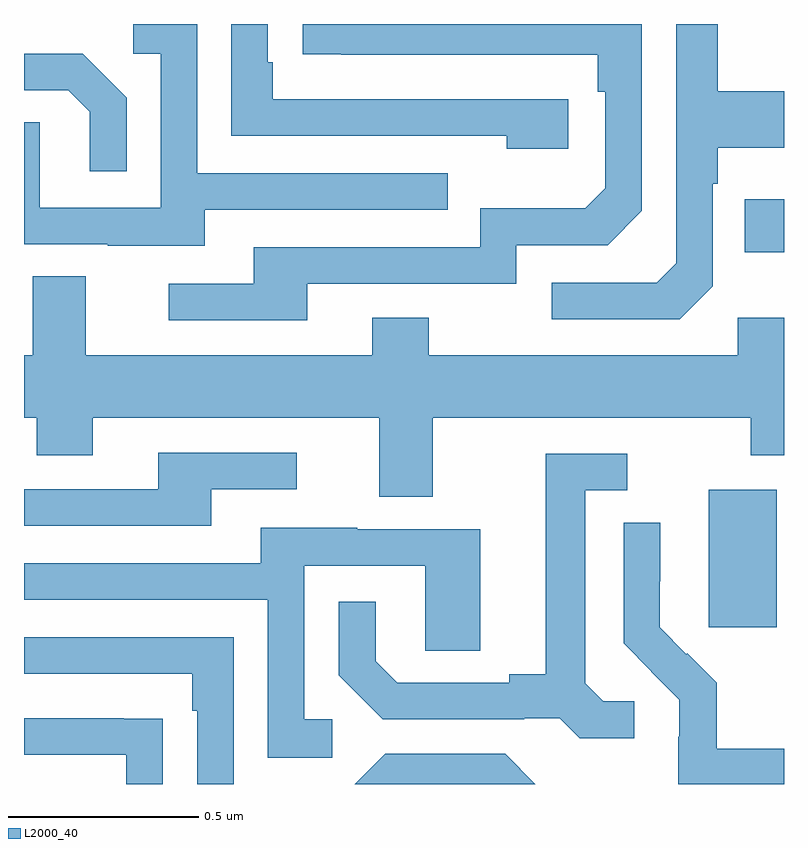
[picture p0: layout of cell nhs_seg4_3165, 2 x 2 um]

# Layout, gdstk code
import gdstk
lib = gdstk.Library(unit=1e-6, precision=1e-09)
def R(c, l, rs):  # rectangles x0, y0, x1, y1
    for r in rs: c.add(gdstk.rectangle(r[:2], r[2:], *l))
def P(c, l, *ps):  # polygons
    for p in ps: c.add(gdstk.Polygon(p, *l))
L2000_40 = (2000, 40)

nhs_seg4_3165 = lib.new_cell('nhs_seg4_3165')
R(nhs_seg4_3165, L2000_40, [(151.802,752.313,151.981,752.674), (151.897,753.299,152,753.439)])
P(nhs_seg4_3165, L2000_40, [(151.812,753.21),(151.812,753.479),(151.825,753.479),(151.825,753.575),(152,753.575),(152,753.723),(151.825,753.723),(151.825,753.9),(151.716,753.9),(151.716,753.27),(151.665,753.219),(151.389,753.219),(151.389,753.123),(151.725,753.123)],
  [(150.745,753.216),(151.296,753.216),(151.296,753.318),(151.536,753.318),(151.626,753.408),(151.626,753.9),(150.733,753.9),(150.733,753.82),(150.835,753.82),(150.835,753.819),(151.51,753.819),(151.51,753.722),(151.53,753.722),(151.53,753.468),(151.477,753.415),(151.2,753.415),(151.2,753.312),(150.605,753.312),(150.605,753.216),(150.381,753.216),(150.381,753.12),(150.745,753.12)],
  [(150.475,753.411),(151.115,753.411),(151.115,753.507),(150.456,753.507),(150.456,753.9),(150.288,753.9),(150.288,753.822),(150.36,753.822),(150.36,753.417),(150.042,753.417),(150.042,753.641),(150,753.641),(150,753.321),(150.221,753.321),(150.221,753.317),(150.475,753.317)],
  [(151.432,753.702),(150.655,753.702),(150.655,753.799),(150.642,753.799),(150.642,753.9),(150.546,753.9),(150.546,753.606),(151.271,753.606),(151.271,753.572),(151.432,753.572)],
  [(150.27,753.706),(150.154,753.822),(150,753.822),(150,753.726),(150.116,753.726),(150.173,753.669),(150.173,753.513),(150.27,753.513)],
  [(151.075,752.864),(151.912,752.864),(151.912,752.765),(152,752.765),(152,753.127),(151.878,753.127),(151.878,753.028),(151.065,753.028),(151.065,753.127),(150.917,753.127),(150.917,753.028),(150.163,753.028),(150.163,753.236),(150.023,753.236),(150.023,753.028),(150,753.028),(150,752.864),(150.034,752.864),(150.034,752.765),(150.181,752.765),(150.181,752.864),(150.935,752.864),(150.935,752.656),(151.075,752.656)],
  [(150.493,752.676),(150.718,752.676),(150.718,752.772),(150.353,752.772),(150.353,752.676),(150,752.676),(150,752.58),(150.493,752.58)],
  [(151.606,752.118),(151.524,752.118),(151.477,752.165),(151.477,752.673),(151.588,752.673),(151.588,752.769),(151.373,752.769),(151.373,752.189),(151.277,752.189),(151.277,752.166),(150.982,752.166),(150.925,752.223),(150.925,752.38),(150.828,752.38),(150.828,752.186),(150.944,752.07),(151.316,752.07),(151.316,752.073),(151.41,752.073),(151.462,752.021),(151.606,752.021)],
  [(152,751.993),(151.823,751.993),(151.823,752.167),(151.746,752.244),(151.743,752.241),(151.673,752.312),(151.673,752.434),(151.674,752.434),(151.674,752.588),(151.578,752.588),(151.578,752.27),(151.651,752.197),(151.65,752.196),(151.724,752.122),(151.724,752.025),(151.722,752.025),(151.722,751.9),(152,751.9)],
  [(150.811,752.07),(150.738,752.07),(150.738,752.475),(151.056,752.475),(151.056,752.251),(151.201,752.251),(151.201,752.571),(150.877,752.571),(150.877,752.575),(150.623,752.575),(150.623,752.481),(150,752.481),(150,752.385),(150.642,752.385),(150.642,751.969),(150.811,751.969)],
  [(150.552,752.286),(150,752.286),(150,752.19),(150.443,752.19),(150.443,752.093),(150.456,752.093),(150.456,751.9),(150.552,751.9)],
  [(150.365,752.072),(150.263,752.072),(150.263,752.073),(150,752.073),(150,751.977),(150.269,751.977),(150.269,751.9),(150.365,751.9)],
  [(151.266,751.98),(150.951,751.98),(150.871,751.9),(151.346,751.9)])

lib.write_gds('nhs_seg4_3165.gds')
